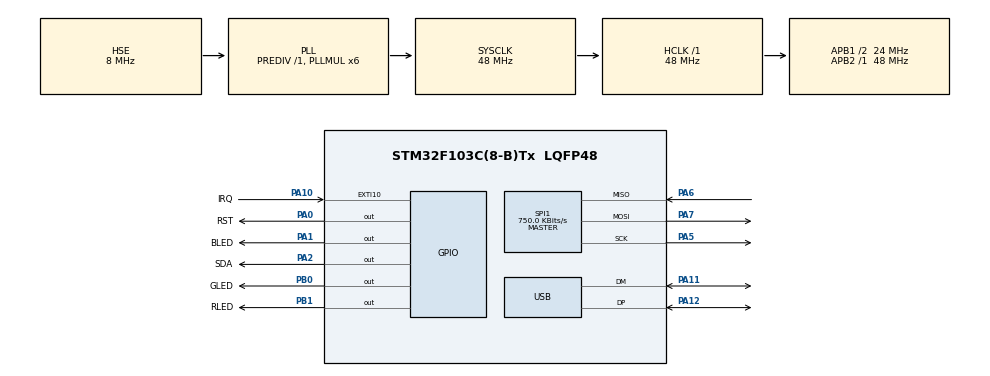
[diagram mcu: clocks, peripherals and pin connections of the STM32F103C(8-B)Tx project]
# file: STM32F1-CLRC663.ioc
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Mcu.Family=STM32F1
Mcu.Name=STM32F103C(8-B)Tx
Mcu.Package=LQFP48
NVIC.PriorityGroup=NVIC_PRIORITYGROUP_4
NVIC.USB_LP_CAN1_RX0_IRQn=true\:0\:0\:false\:false\:true\:false\:true
PA0-WKUP.GPIO_Label=RST
PA0-WKUP.GPIO_Speed=GPIO_SPEED_FREQ_HIGH
PA0-WKUP.Signal=GPIO_Output
PA1.GPIO_Label=BLED
PA1.GPIO_ModeDefaultOutputPP=GPIO_MODE_OUTPUT_OD
PA1.GPIO_PuPd=GPIO_PULLUP
PA1.PinState=GPIO_PIN_SET
PA1.Signal=GPIO_Output
PA10.GPIO_Label=IRQ
PA10.Signal=GPXTI10
PA11.Mode=Device
PA11.Signal=USB_DM
PA12.Mode=Device
PA12.Signal=USB_DP
PA13.Mode=Serial_Wire
PA13.Signal=SYS_JTMS-SWDIO
PA14.Mode=Serial_Wire
PA14.Signal=SYS_JTCK-SWCLK
PA2.GPIO_Label=SDA
PA2.GPIO_Speed=GPIO_SPEED_FREQ_HIGH
PA2.Signal=GPIO_Output
PA5.Mode=Full_Duplex_Master
PA5.Signal=SPI1_SCK
PA6.Mode=Full_Duplex_Master
PA6.Signal=SPI1_MISO
PA7.Mode=Full_Duplex_Master
PA7.Signal=SPI1_MOSI
PB0.GPIO_Label=GLED
PB0.GPIO_ModeDefaultOutputPP=GPIO_MODE_OUTPUT_OD
PB0.GPIO_PuPd=GPIO_PULLUP
PB0.PinState=GPIO_PIN_SET
PB0.Signal=GPIO_Output
PB1.GPIO_Label=RLED
PB1.GPIO_ModeDefaultOutputPP=GPIO_MODE_OUTPUT_OD
PB1.GPIO_PuPd=GPIO_PULLUP
PB1.PinState=GPIO_PIN_SET
PB1.Signal=GPIO_Output
PD0-OSC_IN.Mode=HSE-External-Oscillator
PD0-OSC_IN.Signal=RCC_OSC_IN
PD1-OSC_OUT.Mode=HSE-External-Oscillator
PD1-OSC_OUT.Signal=RCC_OSC_OUT
ProjectManager.HeapSize=0x200
ProjectManager.StackSize=0x400
ProjectManager.TargetToolchain=STM32CubeIDE
RCC.AHBFreq_Value=48000000
RCC.APB1CLKDivider=RCC_HCLK_DIV2
RCC.APB1Freq_Value=24000000
RCC.APB1TimFreq_Value=48000000
RCC.APB2Freq_Value=48000000
RCC.APB2TimFreq_Value=48000000
RCC.HCLKFreq_Value=48000000
RCC.PLLMUL=RCC_PLL_MUL6
RCC.SYSCLKFreq_VALUE=48000000
RCC.SYSCLKSource=RCC_SYSCLKSOURCE_PLLCLK
RCC.USBFreq_Value=48000000
SPI1.BaudRatePrescaler=SPI_BAUDRATEPRESCALER_64
SPI1.CalculateBaudRate=750.0 KBits/s
SPI1.Direction=SPI_DIRECTION_2LINES
SPI1.Mode=SPI_MODE_MASTER
SPI1.VirtualType=VM_MASTER
TIM1.Period=65535
TIM1.Prescaler=479
USB_DEVICE.CLASS_NAME_FS=CDC
USB_DEVICE.VirtualMode=Cdc
USB_DEVICE.VirtualModeFS=Cdc_FS
VP_TIM1_VS_ClockSourceINT.Mode=Internal
VP_USB_DEVICE_VS_USB_DEVICE_CDC_FS.Mode=CDC_FS
board=custom

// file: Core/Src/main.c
/* USER CODE BEGIN Header */
/**
  ******************************************************************************
  * @file           : main.c
  * @brief          : Main program body
  ******************************************************************************
  * @attention
  *
  * <h2><center>&copy; Copyright (c) 2021 STMicroelectronics.
  * All rights reserved.</center></h2>
  *
  * This software component is licensed by ST under BSD 3-Clause license,
  * the "License"; You may not use this file except in compliance with the
  * License. You may obtain a copy of the License at:
  *                        opensource.org/licenses/BSD-3-Clause
  *
  ******************************************************************************
  */
/* USER CODE END Header */
#include "main.h"
#include "usb_device.h"

/* USER CODE BEGIN Includes */
#include "mfrc630.h"
#include "mfrc.h"
#include "delay.h"
/* USER CODE END Includes */

SPI_HandleTypeDef hspi1;

TIM_HandleTypeDef htim1;

void SystemClock_Config(void);
static void MX_GPIO_Init(void);
static void MX_SPI1_Init(void);
static void MX_TIM1_Init(void);
/* USER CODE BEGIN PFP */
void MX_GPIO_USB_Init(void);
/* USER CODE END PFP */

int main(void)
{

  /* MCU Configuration--------------------------------------------------------*/

  /* Reset of all peripherals, Initializes the Flash interface and the Systick. */
  HAL_Init();

  /* Configure the system clock */
  SystemClock_Config();

  /* Initialize all configured peripherals */
  MX_GPIO_Init();
  MX_GPIO_USB_Init();
  MX_SPI1_Init();
  MX_USB_DEVICE_Init();
  MX_TIM1_Init();
  /* USER CODE BEGIN 2 */

  HAL_GPIO_WritePin(SDA_GPIO_Port, SDA_Pin, GPIO_PIN_SET);
  HAL_GPIO_WritePin(RST_GPIO_Port, RST_Pin, GPIO_PIN_SET);
  HAL_Delay_ms(1);
  HAL_GPIO_WritePin(RST_GPIO_Port, RST_Pin, GPIO_PIN_RESET);
  HAL_Delay_ms(1);

  mfrc630_AN1102_recommended_registers(MFRC630_PROTO_ISO14443A_106_MILLER_MANCHESTER);

  /* USER CODE END 2 */

  /* Infinite loop */
  while (1)
  {
	  MFRCReader_Dump();

	  HAL_Delay_ms(200);
  }
}

void SystemClock_Config(void)
{
  RCC_OscInitTypeDef RCC_OscInitStruct = {0};
  RCC_ClkInitTypeDef RCC_ClkInitStruct = {0};
  RCC_PeriphCLKInitTypeDef PeriphClkInit = {0};

  /** Initializes the RCC Oscillators according to the specified parameters
  * in the RCC_OscInitTypeDef structure.
  */
  RCC_OscInitStruct.OscillatorType = RCC_OSCILLATORTYPE_HSE;
  RCC_OscInitStruct.HSEState = RCC_HSE_ON;
  RCC_OscInitStruct.HSEPredivValue = RCC_HSE_PREDIV_DIV1;
  RCC_OscInitStruct.HSIState = RCC_HSI_ON;
  RCC_OscInitStruct.PLL.PLLState = RCC_PLL_ON;
  RCC_OscInitStruct.PLL.PLLSource = RCC_PLLSOURCE_HSE;
  RCC_OscInitStruct.PLL.PLLMUL = RCC_PLL_MUL6;
  if (HAL_RCC_OscConfig(&RCC_OscInitStruct) != HAL_OK)
  {
    Error_Handler();
  }
  /** Initializes the CPU, AHB and APB buses clocks
  */
  RCC_ClkInitStruct.ClockType = RCC_CLOCKTYPE_HCLK|RCC_CLOCKTYPE_SYSCLK
                              |RCC_CLOCKTYPE_PCLK1|RCC_CLOCKTYPE_PCLK2;
  RCC_ClkInitStruct.SYSCLKSource = RCC_SYSCLKSOURCE_PLLCLK;
  RCC_ClkInitStruct.AHBCLKDivider = RCC_SYSCLK_DIV1;
  RCC_ClkInitStruct.APB1CLKDivider = RCC_HCLK_DIV2;
  RCC_ClkInitStruct.APB2CLKDivider = RCC_HCLK_DIV1;

  if (HAL_RCC_ClockConfig(&RCC_ClkInitStruct, FLASH_LATENCY_1) != HAL_OK)
  {
    Error_Handler();
  }
  PeriphClkInit.PeriphClockSelection = RCC_PERIPHCLK_USB;
  PeriphClkInit.UsbClockSelection = RCC_USBCLKSOURCE_PLL;
  if (HAL_RCCEx_PeriphCLKConfig(&PeriphClkInit) != HAL_OK)
  {
    Error_Handler();
  }
}

static void MX_SPI1_Init(void)
{

  /* SPI1 parameter configuration*/
  hspi1.Instance = SPI1;
  hspi1.Init.Mode = SPI_MODE_MASTER;
  hspi1.Init.Direction = SPI_DIRECTION_2LINES;
  hspi1.Init.DataSize = SPI_DATASIZE_8BIT;
  hspi1.Init.CLKPolarity = SPI_POLARITY_LOW;
  hspi1.Init.CLKPhase = SPI_PHASE_1EDGE;
  hspi1.Init.NSS = SPI_NSS_SOFT;
  hspi1.Init.BaudRatePrescaler = SPI_BAUDRATEPRESCALER_8; //up to 10Mbit/s
  hspi1.Init.FirstBit = SPI_FIRSTBIT_MSB;
  hspi1.Init.TIMode = SPI_TIMODE_DISABLE;
  hspi1.Init.CRCCalculation = SPI_CRCCALCULATION_DISABLE;
  hspi1.Init.CRCPolynomial = 10;
  if (HAL_SPI_Init(&hspi1) != HAL_OK)
  {
    Error_Handler();
  }

}

static void MX_TIM1_Init(void)
{

  TIM_ClockConfigTypeDef sClockSourceConfig = {0};
  TIM_MasterConfigTypeDef sMasterConfig = {0};

  htim1.Instance = TIM1;
  htim1.Init.Prescaler = 479;
  htim1.Init.CounterMode = TIM_COUNTERMODE_UP;
  htim1.Init.Period = 65535;
  htim1.Init.ClockDivision = TIM_CLOCKDIVISION_DIV1;
  htim1.Init.RepetitionCounter = 0;
  htim1.Init.AutoReloadPreload = TIM_AUTORELOAD_PRELOAD_DISABLE;
  if (HAL_TIM_Base_Init(&htim1) != HAL_OK)
  {
    Error_Handler();
  }
  sClockSourceConfig.ClockSource = TIM_CLOCKSOURCE_INTERNAL;
  if (HAL_TIM_ConfigClockSource(&htim1, &sClockSourceConfig) != HAL_OK)
  {
    Error_Handler();
  }
  sMasterConfig.MasterOutputTrigger = TIM_TRGO_RESET;
  sMasterConfig.MasterSlaveMode = TIM_MASTERSLAVEMODE_DISABLE;
  if (HAL_TIMEx_MasterConfigSynchronization(&htim1, &sMasterConfig) != HAL_OK)
  {
    Error_Handler();
  }
  /* USER CODE BEGIN TIM1_Init 2 */
  HAL_TIM_Base_Start(&htim1);
  /* USER CODE END TIM1_Init 2 */

}

static void MX_GPIO_Init(void)
{
  GPIO_InitTypeDef GPIO_InitStruct = {0};

  /* GPIO Ports Clock Enable */
  __HAL_RCC_GPIOD_CLK_ENABLE();
  __HAL_RCC_GPIOA_CLK_ENABLE();
  __HAL_RCC_GPIOB_CLK_ENABLE();

  /*Configure GPIO pin Output Level */
  HAL_GPIO_WritePin(GPIOA, RST_Pin|SDA_Pin, GPIO_PIN_RESET);

  /*Configure GPIO pin Output Level */
  HAL_GPIO_WritePin(BLED_GPIO_Port, BLED_Pin, GPIO_PIN_SET);

  /*Configure GPIO pin Output Level */
  HAL_GPIO_WritePin(GPIOB, GLED_Pin|RLED_Pin, GPIO_PIN_SET);

  /*Configure GPIO pins : RST_Pin SDA_Pin */
  GPIO_InitStruct.Pin = RST_Pin|SDA_Pin;
  GPIO_InitStruct.Mode = GPIO_MODE_OUTPUT_PP;
  GPIO_InitStruct.Pull = GPIO_NOPULL;
  GPIO_InitStruct.Speed = GPIO_SPEED_FREQ_HIGH;
  HAL_GPIO_Init(GPIOA, &GPIO_InitStruct);

  /*Configure GPIO pin : BLED_Pin */
  GPIO_InitStruct.Pin = BLED_Pin;
  GPIO_InitStruct.Mode = GPIO_MODE_OUTPUT_OD;
  GPIO_InitStruct.Pull = GPIO_PULLUP;
  GPIO_InitStruct.Speed = GPIO_SPEED_FREQ_LOW;
  HAL_GPIO_Init(BLED_GPIO_Port, &GPIO_InitStruct);

  /*Configure GPIO pins : GLED_Pin RLED_Pin */
  GPIO_InitStruct.Pin = GLED_Pin|RLED_Pin;
  GPIO_InitStruct.Mode = GPIO_MODE_OUTPUT_OD;
  GPIO_InitStruct.Pull = GPIO_PULLUP;
  GPIO_InitStruct.Speed = GPIO_SPEED_FREQ_LOW;
  HAL_GPIO_Init(GPIOB, &GPIO_InitStruct);

  /*Configure GPIO pin : IRQ_Pin */
  GPIO_InitStruct.Pin = IRQ_Pin;
  GPIO_InitStruct.Mode = GPIO_MODE_IT_RISING;
  GPIO_InitStruct.Pull = GPIO_NOPULL;
  HAL_GPIO_Init(IRQ_GPIO_Port, &GPIO_InitStruct);

}

/* USER CODE BEGIN 4 */
void MX_GPIO_USB_Init(void)
{
	GPIO_InitTypeDef GPIO_InitStruct = {0};

	//USB reset
    GPIO_InitStruct.Pin = GPIO_PIN_12;
    GPIO_InitStruct.Mode = GPIO_MODE_OUTPUT_OD;
    GPIO_InitStruct.Pull = GPIO_PULLUP;
    GPIO_InitStruct.Speed = GPIO_SPEED_FREQ_LOW;
    HAL_GPIO_Init(GPIOA, &GPIO_InitStruct);

    HAL_GPIO_WritePin(GPIOA, GPIO_PIN_12, GPIO_PIN_SET);
    HAL_Delay(10);
    HAL_GPIO_WritePin(GPIOA, GPIO_PIN_12, GPIO_PIN_RESET);
}

void mfrc630_SPI_select()
{
	HAL_GPIO_WritePin(SDA_GPIO_Port, SDA_Pin, GPIO_PIN_RESET);
}

void mfrc630_SPI_unselect()
{
	HAL_GPIO_WritePin(SDA_GPIO_Port, SDA_Pin, GPIO_PIN_SET);
}

void mfrc630_SPI_transfer(const uint8_t* tx, uint8_t* rx, uint16_t len)
{
	switch(HAL_SPI_TransmitReceive(&hspi1, tx, rx, len, 100))
	{
	case HAL_OK:
		// Communication is completed, dont do anything.
		break;
	case HAL_TIMEOUT:
		printf("Timeout\n");
	case HAL_ERROR:
		printf("Some error\n");
		Error_Handler();
		break;
	default:
		break;
	}
}
/* USER CODE END 4 */

void Error_Handler(void)
{
  __disable_irq();
  while (1)
  {
  }
}

/************************ (C) COPYRIGHT STMicroelectronics *****END OF FILE****/
